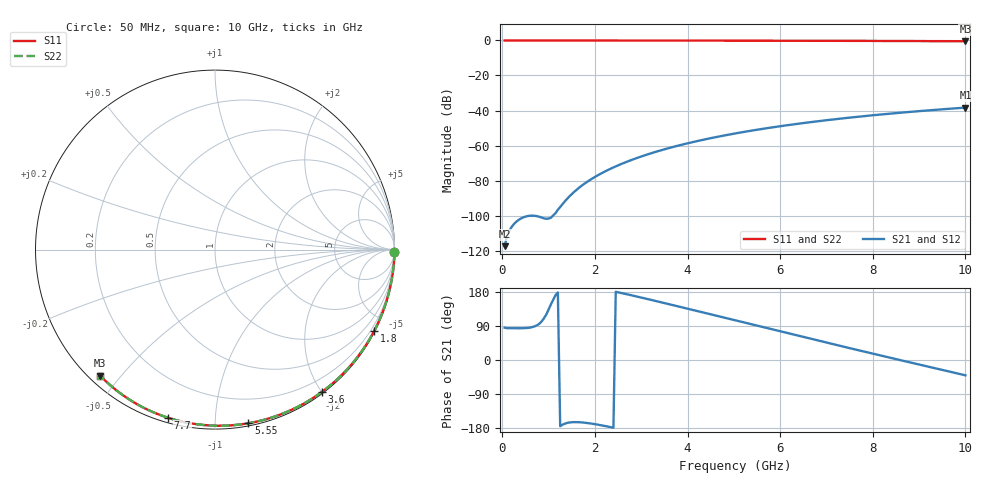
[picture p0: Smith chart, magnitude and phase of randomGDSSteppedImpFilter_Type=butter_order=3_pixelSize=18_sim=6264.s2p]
! freq	dB(S11)	phase(S11)	dB(S12)	phase(S12)
!  dB(S21)	phase(S21)	dB(S22)	phase(S22)
!S-par simulation data
#  GHz  S  DB  R 50
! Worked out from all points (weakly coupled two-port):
!   200 points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, 50 MHz to 10 GHz, reference 50 ohm
!   highest |S21| = -38.35 dB at 10 GHz (marker M1); lowest = -117.5 dB at 50 MHz (marker M2)
!   lowest |S11| = -0.4 dB at 10 GHz (marker M3), VSWR 38.86, Z = 1.54 - j22.1 ohm
!   |S11| at or under -10 dB: nowhere
!   |S22| runs from -0.4 to 0.0 dB; largest |S21 - S12| = 0
!   S11 on the Smith chart (normalised r, x): 50 MHz: open; 1.8 GHz: 0.04, -4.15; 3.6 GHz: 0.02, -2.01; 5.55 GHz: 0.02, -1.21; 7.7 GHz: 0.02, -0.76; 10 GHz: 0.03, -0.44
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0.05  -0.00 -0.8  -117.46 85.3  -117.46 85.3  -0.00 -0.8
0.9  -0.02 -13.7  -101.55 110.2  -101.55 110.2  -0.02 -13.7
1.75  -0.03 -26.4  -82.24 -165.1  -82.24 -165.1  -0.03 -26.4
1.8  -0.03 -27.1  -81.30 -165.7  -81.30 -165.7  -0.03 -27.1
1.85  -0.04 -27.8  -80.41 -166.5  -80.41 -166.5  -0.04 -27.8
1.9  -0.04 -28.6  -79.55 -167.4  -79.55 -167.4  -0.04 -28.6
2.05  -0.04 -30.8  -77.17 -170.3  -77.17 -170.3  -0.04 -30.8
2.25  -0.04 -33.7  -74.36 -174.9  -74.36 -174.9  -0.04 -33.7
2.45  -0.05 -36.6  -71.88 180.0  -71.88 180.0  -0.05 -36.6
2.65  -0.05 -39.5  -69.66 174.6  -69.66 174.6  -0.05 -39.5
3  -0.06 -44.5  -66.25 164.8  -66.25 164.8  -0.06 -44.5
3.4  -0.07 -50.2  -62.91 153.2  -62.91 153.2  -0.07 -50.2
3.6  -0.07 -53.0  -61.42 147.3  -61.42 147.3  -0.07 -53.0
4.3  -0.09 -62.6  -56.92 126.4  -56.92 126.4  -0.09 -62.6
5.05  -0.11 -72.7  -52.99 103.9  -52.99 103.9  -0.11 -72.6
5.55  -0.13 -79.2  -50.76 89.0  -50.76 89.0  -0.13 -79.1
6.1  -0.15 -86.2  -48.59 72.6  -48.59 72.6  -0.15 -86.2
6.7  -0.18 -93.6  -46.49 54.8  -46.49 54.8  -0.18 -93.6
7.7  -0.24 -105.7  -43.51 25.5  -43.51 25.5  -0.24 -105.7
8.35  -0.29 -113.3  -41.84 6.7  -41.84 6.7  -0.29 -113.3
9.15  -0.36 -122.6  -40.03 -16.2  -40.03 -16.2  -0.36 -122.6
10  -0.45 -132.3  -38.35 -40.4  -38.35 -40.4  -0.45 -132.3
